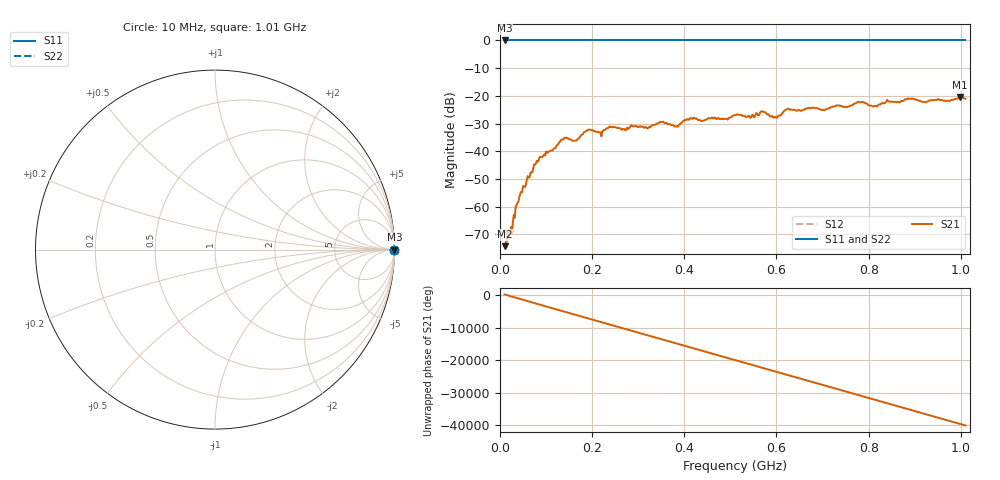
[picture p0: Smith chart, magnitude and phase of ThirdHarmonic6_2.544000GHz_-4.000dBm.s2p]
! 8/17/2025 5:09:17 AM
! C:\ANRITSUVNA\TEMP\TEMP.S2P
! CHANNEL.1
! TR.MEASUREMENT
! RAW.DATA
! RF.CORRECTION.OFF
! AVERAGING.OFF
! IF.BANDWIDTH: 5KHZ
! SWEEPTYPE:  FREQ.SWEEP(Linear)
! Reference Plane Port Info
! PORT:  PORT1  PORT2
! DISTANCE:  0  m  0  m
! TIME:  0  s  0  s
! PHASE.OFFSET:  0  deg.  0  deg.
! LOSS:  0  dB  0  dB
! REF.LOSS:  0  dB  0  dB
! REF.FREQ:  0  Hz  0  Hz
! Power Info
! POWER:  -20  dBm  -20  dBm
! EFF.POWER:  -20  dBm  -20  dBm
! SOURCE.ATTEN:  0  dB  0  dB
! TEST.ATTEN:  0  dB  0  dB
# GHZ S RI R 50.0
! FREQ.GHZ  S11RE  S11IM  S21RE  S21IM  S12RE  S12IM  S22RE  S22IM
!; PortSelection: Port_12
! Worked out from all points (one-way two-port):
!   501 points, 10 MHz to 1.01 GHz, reference 50 ohm
!   highest |S21| = -20.44 dB at 998 MHz (marker M1); lowest = -74.3 dB at 10 MHz (marker M2)
!   lowest |S11| = 0.0 dB at 10 MHz (marker M3)
!   |S11| at or under -10 dB: nowhere
!   |S22| runs from 0.0 to 0.0 dB; largest |S21 - S12| = 1.1
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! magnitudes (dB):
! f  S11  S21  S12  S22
! 10 MHz  0.0  -74.3  0.0  0.0
! 22 MHz  0.0  -69.4  0.0  0.0
! 46 MHz  0.0  -54.6  0.0  0.0
! 78 MHz  0.0  -44.5  0.0  0.0
! 136 MHz  0.0  -35.8  0.0  0.0
! 162 MHz  0.0  -36.2  0.0  0.0
! 178 MHz  0.0  -34.0  0.0  0.0
! 194 MHz  0.0  -32.2  0.0  0.0
! 216 MHz  0.0  -33.1  0.0  0.0
! 344 MHz  0.0  -29.8  0.0  0.0
! 382 MHz  0.0  -31.1  0.0  0.0
! 416 MHz  0.0  -28.3  0.0  0.0
! 510 MHz  0.0  -26.9  0.0  0.0
! 570 MHz  0.0  -25.6  0.0  0.0
! 598 MHz  0.0  -27.7  0.0  0.0
! 622 MHz  0.0  -24.9  0.0  0.0
! 678 MHz  0.0  -24.3  0.0  0.0
! 780 MHz  0.0  -22.3  0.0  0.0
! 814 MHz  0.0  -23.6  0.0  0.0
! 844 MHz  0.0  -22.1  0.0  0.0
! 998 MHz  0.0  -20.4  0.0  0.0
! 1.01 GHz  0.0  -21.1  0.0  0.0
